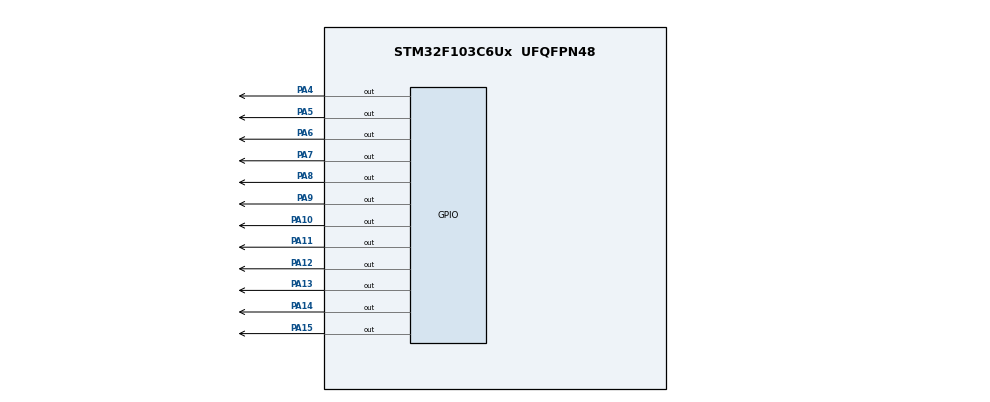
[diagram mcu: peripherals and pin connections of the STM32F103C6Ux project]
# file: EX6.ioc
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Mcu.Family=STM32F1
Mcu.Name=STM32F103C6Ux
Mcu.Package=UFQFPN48
NVIC.PriorityGroup=NVIC_PRIORITYGROUP_4
PA10.Signal=GPIO_Output
PA11.Signal=GPIO_Output
PA12.Signal=GPIO_Output
PA13.Signal=GPIO_Output
PA14.Signal=GPIO_Output
PA15.Signal=GPIO_Output
PA4.Signal=GPIO_Output
PA5.Signal=GPIO_Output
PA6.Signal=GPIO_Output
PA7.Signal=GPIO_Output
PA8.Signal=GPIO_Output
PA9.Signal=GPIO_Output
ProjectManager.HeapSize=0x200
ProjectManager.StackSize=0x400
ProjectManager.TargetToolchain=STM32CubeIDE
RCC.APB1Freq_Value=8000000
RCC.APB2Freq_Value=8000000
VP_SYS_VS_ND.Mode=No_Debug
board=custom

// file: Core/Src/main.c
/* USER CODE BEGIN Header */
/**
  ******************************************************************************
  * @file           : main.c
  * @brief          : Main program body
  ******************************************************************************
  * @attention
  *
  * <h2><center>&copy; Copyright (c) 2026 STMicroelectronics.
  * All rights reserved.</center></h2>
  *
  * This software component is licensed by ST under BSD 3-Clause license,
  * the "License"; You may not use this file except in compliance with the
  * License. You may obtain a copy of the License at:
  *                        opensource.org/licenses/BSD-3-Clause
  *
  ******************************************************************************
  */
/* USER CODE END Header */
#include "main.h"

/* USER CODE BEGIN Includes */

//EX6
void displayClock(int pos)
{
    uint16_t led[12] = {
        GPIO_PIN_4, GPIO_PIN_5, GPIO_PIN_6, GPIO_PIN_7,
        GPIO_PIN_8, GPIO_PIN_9, GPIO_PIN_10, GPIO_PIN_11,
        GPIO_PIN_12, GPIO_PIN_13, GPIO_PIN_14, GPIO_PIN_15
    };

    HAL_GPIO_WritePin(GPIOA,
        GPIO_PIN_4  | GPIO_PIN_5  | GPIO_PIN_6  | GPIO_PIN_7 |
        GPIO_PIN_8  | GPIO_PIN_9  | GPIO_PIN_10 | GPIO_PIN_11 |
        GPIO_PIN_12 | GPIO_PIN_13 | GPIO_PIN_14 | GPIO_PIN_15,
        GPIO_PIN_RESET);

    if(pos >= 1 && pos <= 12)
    {
        HAL_GPIO_WritePin(GPIOA, led[pos - 1], GPIO_PIN_SET);
    }
}

//EX7
void clearAllClock(void)
{
    HAL_GPIO_WritePin(GPIOA,
        GPIO_PIN_4  | GPIO_PIN_5  | GPIO_PIN_6  | GPIO_PIN_7 |
        GPIO_PIN_8  | GPIO_PIN_9  | GPIO_PIN_10 | GPIO_PIN_11 |
        GPIO_PIN_12 | GPIO_PIN_13 | GPIO_PIN_14 | GPIO_PIN_15,
        GPIO_PIN_RESET);
}

//EX8
void setNumberOnClock(int num)
{

    switch(num)
    {
        case 0:  HAL_GPIO_WritePin(GPIOA, GPIO_PIN_4,  GPIO_PIN_SET); break; // LED1
        case 1:  HAL_GPIO_WritePin(GPIOA, GPIO_PIN_5,  GPIO_PIN_SET); break; // LED2
        case 2:  HAL_GPIO_WritePin(GPIOA, GPIO_PIN_6,  GPIO_PIN_SET); break; // LED3
        case 3:  HAL_GPIO_WritePin(GPIOA, GPIO_PIN_7,  GPIO_PIN_SET); break; // LED4
        case 4:  HAL_GPIO_WritePin(GPIOA, GPIO_PIN_8,  GPIO_PIN_SET); break; // LED5
        case 5:  HAL_GPIO_WritePin(GPIOA, GPIO_PIN_9,  GPIO_PIN_SET); break; // LED6
        case 6:  HAL_GPIO_WritePin(GPIOA, GPIO_PIN_10, GPIO_PIN_SET); break; // LED7
        case 7:  HAL_GPIO_WritePin(GPIOA, GPIO_PIN_11, GPIO_PIN_SET); break; // LED8
        case 8:  HAL_GPIO_WritePin(GPIOA, GPIO_PIN_12, GPIO_PIN_SET); break; // LED9
        case 9:  HAL_GPIO_WritePin(GPIOA, GPIO_PIN_13, GPIO_PIN_SET); break; // LED10
        case 10: HAL_GPIO_WritePin(GPIOA, GPIO_PIN_14, GPIO_PIN_SET); break; // LED11
        case 11: HAL_GPIO_WritePin(GPIOA, GPIO_PIN_15, GPIO_PIN_SET); break; // LED12
    }
}

//EX9
void clearNumberOnClock(int num)
{
    switch(num)
    {
        case 0:  HAL_GPIO_WritePin(GPIOA, GPIO_PIN_4,  GPIO_PIN_RESET); break;
        case 1:  HAL_GPIO_WritePin(GPIOA, GPIO_PIN_5,  GPIO_PIN_RESET); break;
        case 2:  HAL_GPIO_WritePin(GPIOA, GPIO_PIN_6,  GPIO_PIN_RESET); break;
        case 3:  HAL_GPIO_WritePin(GPIOA, GPIO_PIN_7,  GPIO_PIN_RESET); break;
        case 4:  HAL_GPIO_WritePin(GPIOA, GPIO_PIN_8,  GPIO_PIN_RESET); break;
        case 5:  HAL_GPIO_WritePin(GPIOA, GPIO_PIN_9,  GPIO_PIN_RESET); break;
        case 6:  HAL_GPIO_WritePin(GPIOA, GPIO_PIN_10, GPIO_PIN_RESET); break;
        case 7:  HAL_GPIO_WritePin(GPIOA, GPIO_PIN_11, GPIO_PIN_RESET); break;
        case 8:  HAL_GPIO_WritePin(GPIOA, GPIO_PIN_12, GPIO_PIN_RESET); break;
        case 9:  HAL_GPIO_WritePin(GPIOA, GPIO_PIN_13, GPIO_PIN_RESET); break;
        case 10: HAL_GPIO_WritePin(GPIOA, GPIO_PIN_14, GPIO_PIN_RESET); break;
        case 11: HAL_GPIO_WritePin(GPIOA, GPIO_PIN_15, GPIO_PIN_RESET); break;
    }
}

//EX10
uint8_t hour = 10;
uint8_t minute = 00;
uint8_t second = 10;
/* USER CODE END Includes */

void SystemClock_Config(void);
static void MX_GPIO_Init(void);

int main(void)
{

  /* MCU Configuration--------------------------------------------------------*/

  /* Reset of all peripherals, Initializes the Flash interface and the Systick. */
  HAL_Init();

  /* Configure the system clock */
  SystemClock_Config();

  /* Initialize all configured peripherals */
  MX_GPIO_Init();

  /* Infinite loop */
  while (1)
  {
	  //EX6
	  	    for(int i = 1; i <= 12; i++)
	  	    {
	  	        displayClock(i);
	  	        HAL_Delay(1000);
	  	    }

	  	  //EX7
	  	  	  //DEMO turn all leds on
	  	  	    HAL_GPIO_WritePin(GPIOA,
	  	  	        GPIO_PIN_4|GPIO_PIN_5|GPIO_PIN_6|GPIO_PIN_7|
	  	  	        GPIO_PIN_8|GPIO_PIN_9|GPIO_PIN_10|GPIO_PIN_11|
	  	  	        GPIO_PIN_12|GPIO_PIN_13|GPIO_PIN_14|GPIO_PIN_15,
	  	  	        GPIO_PIN_SET);
	  	  	    HAL_Delay(1000);

	  	  	    clearAllClock();
	  	  	    HAL_Delay(1000);

	  	  //EX8
	  	  	    for(int i = 0; i < 12; i++)
	  	  	    {
	  	  	        setNumberOnClock(i);
	  	  	        HAL_Delay(1000);
	  	  	    }

	  	  //EX9
	  	  	    clearAllClock();
	  	  //EX10
	  	  	    setNumberOnClock(hour % 12);
	  	  	    setNumberOnClock(minute / 5);
	  	  	    setNumberOnClock(second / 5);

	  	  	    HAL_Delay(1000);

	  	  	    second++;

	  	  	    if (second >= 60)
	  	  	    {
	  	  	        second = 0;
	  	  	        minute++;

	  	  	        if (minute >= 60)
	  	  	        {
	  	  	            minute = 0;
	  	  	            hour++;

	  	  	            if (hour >= 12)
	  	  	                hour = 0;
	  	  	        }
	  	  	    }

  }
}

void SystemClock_Config(void)
{
  RCC_OscInitTypeDef RCC_OscInitStruct = {0};
  RCC_ClkInitTypeDef RCC_ClkInitStruct = {0};

  /** Initializes the RCC Oscillators according to the specified parameters
  * in the RCC_OscInitTypeDef structure.
  */
  RCC_OscInitStruct.OscillatorType = RCC_OSCILLATORTYPE_HSI;
  RCC_OscInitStruct.HSIState = RCC_HSI_ON;
  RCC_OscInitStruct.HSICalibrationValue = RCC_HSICALIBRATION_DEFAULT;
  RCC_OscInitStruct.PLL.PLLState = RCC_PLL_NONE;
  if (HAL_RCC_OscConfig(&RCC_OscInitStruct) != HAL_OK)
  {
    Error_Handler();
  }
  /** Initializes the CPU, AHB and APB buses clocks
  */
  RCC_ClkInitStruct.ClockType = RCC_CLOCKTYPE_HCLK|RCC_CLOCKTYPE_SYSCLK
                              |RCC_CLOCKTYPE_PCLK1|RCC_CLOCKTYPE_PCLK2;
  RCC_ClkInitStruct.SYSCLKSource = RCC_SYSCLKSOURCE_HSI;
  RCC_ClkInitStruct.AHBCLKDivider = RCC_SYSCLK_DIV1;
  RCC_ClkInitStruct.APB1CLKDivider = RCC_HCLK_DIV1;
  RCC_ClkInitStruct.APB2CLKDivider = RCC_HCLK_DIV1;

  if (HAL_RCC_ClockConfig(&RCC_ClkInitStruct, FLASH_LATENCY_0) != HAL_OK)
  {
    Error_Handler();
  }
}

static void MX_GPIO_Init(void)
{
  GPIO_InitTypeDef GPIO_InitStruct = {0};

  __HAL_RCC_GPIOA_CLK_ENABLE();

  HAL_GPIO_WritePin(GPIOA, GPIO_PIN_4|GPIO_PIN_5|GPIO_PIN_6|GPIO_PIN_7
                          |GPIO_PIN_8|GPIO_PIN_9|GPIO_PIN_10|GPIO_PIN_11
                          |GPIO_PIN_12|GPIO_PIN_13|GPIO_PIN_14|GPIO_PIN_15, GPIO_PIN_RESET);

  GPIO_InitStruct.Pin = GPIO_PIN_4|GPIO_PIN_5|GPIO_PIN_6|GPIO_PIN_7
                          |GPIO_PIN_8|GPIO_PIN_9|GPIO_PIN_10|GPIO_PIN_11
                          |GPIO_PIN_12|GPIO_PIN_13|GPIO_PIN_14|GPIO_PIN_15;
  GPIO_InitStruct.Mode = GPIO_MODE_OUTPUT_PP;
  GPIO_InitStruct.Pull = GPIO_NOPULL;
  GPIO_InitStruct.Speed = GPIO_SPEED_FREQ_LOW;
  HAL_GPIO_Init(GPIOA, &GPIO_InitStruct);

}

void Error_Handler(void)
{
  __disable_irq();
  while (1)
  {
  }
}

/************************ (C) COPYRIGHT STMicroelectronics *****END OF FILE****/
